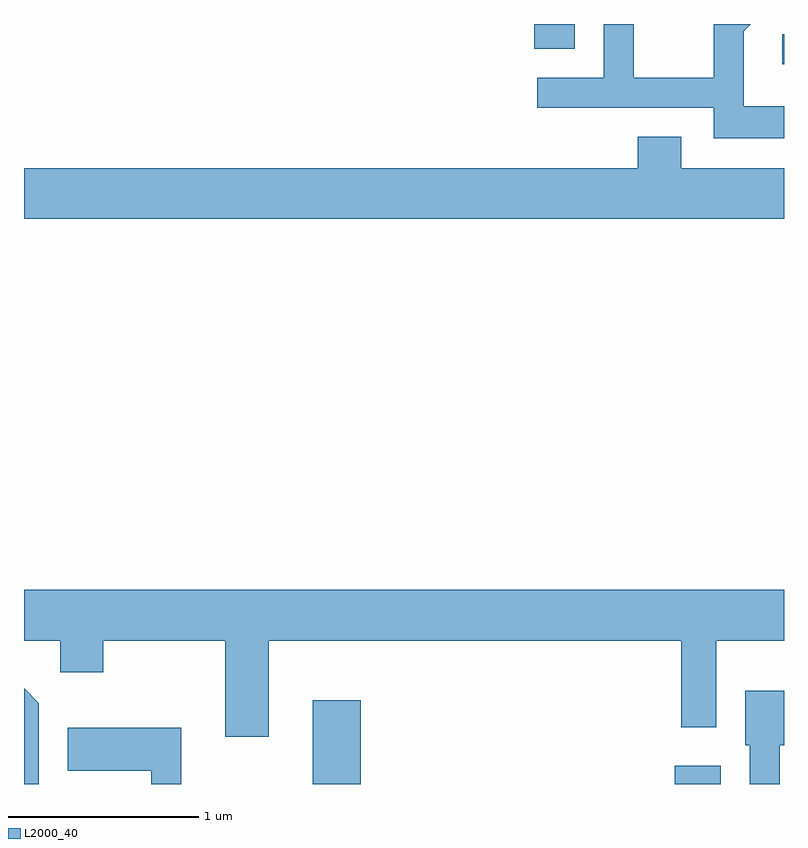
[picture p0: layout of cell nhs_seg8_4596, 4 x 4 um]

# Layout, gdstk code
import gdstk
lib = gdstk.Library(unit=1e-6, precision=1e-09)
def R(c, l, rs):  # rectangles x0, y0, x1, y1
    for r in rs: c.add(gdstk.rectangle(r[:2], r[2:], *l))
def P(c, l, *ps):  # polygons
    for p in ps: c.add(gdstk.Polygon(p, *l))
L2000_40 = (2000, 40)

nhs_seg8_4596 = lib.new_cell('nhs_seg8_4596')
R(nhs_seg8_4596, L2000_40, [(325.131,1822.342,325.384,1822.784), (327.036,1822.342,327.279,1822.439), (327.603,1826.131,327.611,1826.289), (326.296,1826.211,326.509,1826.342)])
P(nhs_seg8_4596, L2000_40, [(327.611,1825.909),(327.399,1825.909),(327.399,1826.304),(327.437,1826.342),(327.241,1826.342),(327.241,1826.059),(326.819,1826.059),(326.819,1826.342),(326.661,1826.342),(326.661,1826.059),(326.313,1826.059),(326.313,1825.901),(327.241,1825.901),(327.241,1825.741),(327.611,1825.741)],
  [(327.611,1825.584),(327.069,1825.584),(327.069,1825.749),(326.841,1825.749),(326.841,1825.584),(323.611,1825.584),(323.611,1825.316),(327.611,1825.316)],
  [(324.899,1823.096),(327.071,1823.096),(327.071,1822.641),(327.254,1822.641),(327.254,1823.096),(327.611,1823.096),(327.611,1823.364),(323.611,1823.364),(323.611,1823.096),(323.801,1823.096),(323.801,1822.931),(324.029,1822.931),(324.029,1823.096),(324.671,1823.096),(324.671,1822.591),(324.899,1822.591)],
  [(323.689,1822.767),(323.611,1822.845),(323.611,1822.342),(323.689,1822.342)],
  [(327.589,1822.546),(327.611,1822.546),(327.611,1822.834),(327.406,1822.834),(327.406,1822.546),(327.431,1822.546),(327.431,1822.342),(327.589,1822.342)],
  [(324.439,1822.639),(323.841,1822.639),(323.841,1822.411),(324.281,1822.411),(324.281,1822.342),(324.439,1822.342)])

lib.write_gds('nhs_seg8_4596.gds')
